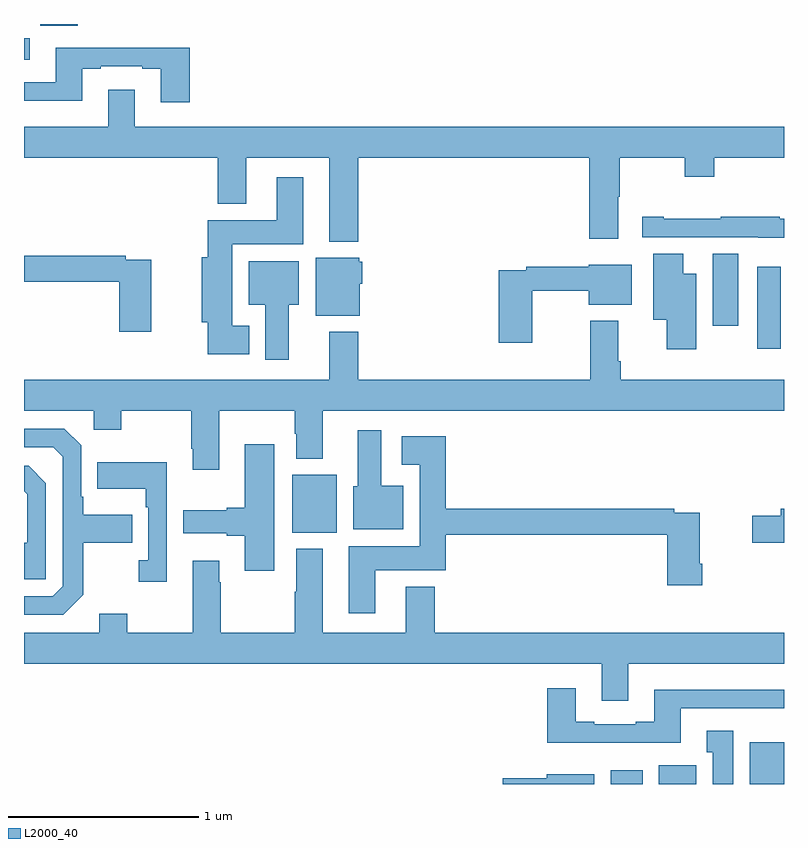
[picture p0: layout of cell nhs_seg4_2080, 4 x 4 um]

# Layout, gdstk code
import gdstk
lib = gdstk.Library(unit=1e-6, precision=1e-09)
def R(c, l, rs):  # rectangles x0, y0, x1, y1
    for r in rs: c.add(gdstk.rectangle(r[:2], r[2:], *l))
def P(c, l, *ps):  # polygons
    for p in ps: c.add(gdstk.Polygon(p, *l))
L2000_40 = (2000, 40)

nhs_seg4_2080 = lib.new_cell('nhs_seg4_2080')
R(nhs_seg4_2080, L2000_40, [(222.089,750.9,222.256,750.973), (222.341,750.9,222.538,751), (222.821,750.9,223,751.12), (220.412,752.222,220.645,752.527), (222.86,753.192,222.982,753.622), (222.626,753.312,222.76,753.692), (219,754.713,219.031,754.826), (219.086,754.892,219.283,754.9)])
P(nhs_seg4_2080, L2000_40, [(219.872,754.774),(219.167,754.774),(219.167,754.593),(219,754.593),(219,754.496),(219.307,754.496),(219.307,754.665),(219.403,754.665),(219.403,754.677),(219.623,754.677),(219.623,754.665),(219.719,754.665),(219.719,754.488),(219.872,754.488)],
  [(220.76,754.196),(221.975,754.196),(221.975,753.771),(222.127,753.771),(222.127,753.992),(222.135,753.992),(222.135,754.196),(222.478,754.196),(222.478,754.097),(222.633,754.097),(222.633,754.196),(223,754.196),(223,754.36),(219.583,754.36),(219.583,754.555),(219.443,754.555),(219.443,754.36),(219,754.36),(219,754.196),(220.019,754.196),(220.019,753.953),(220.171,753.953),(220.171,754.196),(220.607,754.196),(220.607,753.755),(220.76,753.755)],
  [(220.186,753.313),(220.096,753.313),(220.096,753.74),(220.471,753.74),(220.471,754.093),(220.331,754.093),(220.331,753.868),(219.967,753.868),(219.967,753.673),(219.935,753.673),(219.935,753.329),(219.967,753.329),(219.967,753.161),(220.186,753.161)],
  [(223,753.876),(222.977,753.876),(222.977,753.886),(222.667,753.886),(222.667,753.876),(222.367,753.876),(222.367,753.886),(222.255,753.886),(222.255,753.777),(222.864,753.777),(222.864,753.776),(223,753.776)],
  [(222.538,753.586),(222.469,753.586),(222.469,753.692),(222.311,753.692),(222.311,753.344),(222.383,753.344),(222.383,753.189),(222.538,753.189)],
  [(219.67,753.66),(219.536,753.66),(219.536,753.68),(219,753.68),(219,753.544),(219.5,753.544),(219.5,753.279),(219.67,753.279)],
  [(220.768,753.534),(220.78,753.534),(220.78,753.648),(220.764,753.648),(220.764,753.67),(220.535,753.67),(220.535,753.365),(220.768,753.365)],
  [(220.393,753.422),(220.447,753.422),(220.447,753.652),(220.184,753.652),(220.184,753.422),(220.271,753.422),(220.271,753.132),(220.393,753.132)],
  [(221.676,753.495),(221.972,753.495),(221.972,753.422),(222.199,753.422),(222.199,753.634),(221.972,753.634),(221.972,753.623),(221.644,753.623),(221.644,753.603),(221.498,753.603),(221.498,753.222),(221.676,753.222)],
  [(219,752.864),(219.366,752.864),(219.366,752.765),(219.513,752.765),(219.513,752.864),(219.88,752.864),(219.88,752.665),(219.887,752.665),(219.887,752.553),(220.027,752.553),(220.027,752.864),(220.426,752.864),(220.426,752.744),(220.433,752.744),(220.433,752.612),(220.573,752.612),(220.573,752.864),(223,752.864),(223,753.028),(222.14,753.028),(222.14,753.124),(222.127,753.124),(222.127,753.337),(221.98,753.337),(221.98,753.028),(220.76,753.028),(220.76,753.28),(220.607,753.28),(220.607,753.028),(219,753.028)],
  [(219.313,751.897),(219.313,752.17),(219.569,752.17),(219.569,752.317),(219.313,752.317),(219.313,752.413),(219.3,752.413),(219.3,752.682),(219.213,752.769),(219,752.769),(219,752.673),(219.153,752.673),(219.204,752.622),(219.204,751.941),(219.15,751.887),(219,751.887),(219,751.791),(219.207,751.791)],
  [(220.996,752.47),(220.879,752.47),(220.879,752.761),(220.757,752.761),(220.757,752.466),(220.733,752.466),(220.733,752.24),(220.996,752.24)],
  [(220.849,752.024),(221.219,752.024),(221.219,752.212),(222.386,752.212),(222.386,751.947),(222.569,751.947),(222.569,752.059),(222.556,752.059),(222.556,752.328),(222.422,752.328),(222.422,752.348),(221.219,752.348),(221.219,752.731),(220.989,752.731),(220.989,752.579),(221.084,752.579),(221.084,752.152),(220.709,752.152),(220.709,751.8),(220.849,751.8)],
  [(220.318,752.689),(220.163,752.689),(220.163,752.354),(220.067,752.354),(220.067,752.341),(219.837,752.341),(219.837,752.219),(220.067,752.219),(220.067,752.207),(220.163,752.207),(220.163,752.022),(220.318,752.022)],
  [(219.75,752.593),(219.385,752.593),(219.385,752.453),(219.642,752.453),(219.642,752.357),(219.654,752.357),(219.654,752.078),(219.603,752.078),(219.603,751.965),(219.75,751.965)],
  [(219.114,752.484),(219.024,752.574),(219,752.574),(219,752.442),(219.018,752.424),(219.018,752.17),(219,752.17),(219,751.977),(219.114,751.977)],
  [(223,752.348),(222.983,752.348),(222.983,752.312),(222.834,752.312),(222.834,752.17),(223,752.17)],
  [(222.181,751.532),(223,751.532),(223,751.696),(221.162,751.696),(221.162,751.939),(221.009,751.939),(221.009,751.696),(220.573,751.696),(220.573,752.137),(220.433,752.137),(220.433,751.911),(220.426,751.911),(220.426,751.696),(220.035,751.696),(220.035,751.961),(220.027,751.961),(220.027,752.074),(219.887,752.074),(219.887,751.696),(219.543,751.696),(219.543,751.795),(219.395,751.795),(219.395,751.696),(219,751.696),(219,751.532),(222.041,751.532),(222.041,751.338),(222.181,751.338)],
  [(222.457,751.299),(223,751.299),(223,751.396),(222.317,751.396),(222.317,751.228),(222.221,751.228),(222.221,751.215),(222.001,751.215),(222.001,751.228),(221.905,751.228),(221.905,751.405),(221.753,751.405),(221.753,751.118),(222.457,751.118)],
  [(222.733,751.18),(222.593,751.18),(222.593,751.067),(222.626,751.067),(222.626,750.9),(222.733,750.9)],
  [(222.001,750.952),(221.75,750.952),(221.75,750.929),(221.52,750.929),(221.52,750.9),(222.001,750.9)])

lib.write_gds('nhs_seg4_2080.gds')
